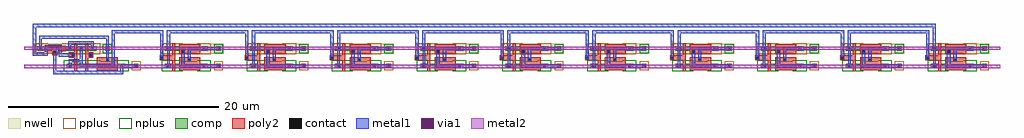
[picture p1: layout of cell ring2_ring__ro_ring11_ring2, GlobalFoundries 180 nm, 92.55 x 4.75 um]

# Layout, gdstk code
import gdstk
lib = gdstk.Library(unit=1e-6, precision=5e-10)
def R(c, l, rs):  # rectangles x0, y0, x1, y1
    for r in rs: c.add(gdstk.rectangle(r[:2], r[2:], *l))
def A(c, l, x, y, w, h, nx, ny, dx, dy):  # array of equal rectangles
    R(c, l, [(x+i*dx, y+j*dy, x+i*dx+w, y+j*dy+h) for i in range(nx) for j in range(ny)])
nwell = (21, 0)
comp = (22, 0)
poly2 = (30, 0)
pplus = (31, 0)
nplus = (32, 0)
contact = (33, 0)
metal1 = (34, 0)
via1 = (35, 0)
metal2 = (36, 0)

wire__ro_ring11_ring2_wi = lib.new_cell('wire__ro_ring11_ring2_wiring')
A(wire__ro_ring11_ring2_wi, metal1, 8.86, 1.15, 0.3, 2.45, 10, 1, 8.07, 0)
A(wire__ro_ring11_ring2_wi, metal1, 9.5, 2.07, 0.3, 1.53, 9, 1, 8.07, 0)
A(wire__ro_ring11_ring2_wi, metal1, 9.5, 3.3, 7.73, 0.3, 9, 1, 8.07, 0)
R(wire__ro_ring11_ring2_wi, metal1, [(1.23,0.15,1.53,1), (1.23,0.15,4.55,0.45), (4.25,0.15,4.55,3.6), (-0.75,1.1,0.59,1.4), (-0.75,1.1,-0.45,2.2), (-3.2,1.2,-1.8,1.5), (-3.2,1.2,-2.9,4.2), (-2.1,1.2,-1.8,2.2), (-2.1,1.9,-0.45,2.2), (82.13,2.07,82.43,4.2), (4.25,3.3,9.16,3.6), (-3.2,3.9,82.43,4.2)])
A(wire__ro_ring11_ring2_wi, via1, 12.9, 0.07, 0.26, 0.26, 10, 2, 8.07, 1.7)
R(wire__ro_ring11_ring2_wi, via1, [(5.08,0.07,5.34,0.33), (-2.62,1.77,-2.36,2.03)])
A(wire__ro_ring11_ring2_wi, metal2, 12.88, 0.05, 0.3, 0.3, 10, 2, 8.07, 1.7)
R(wire__ro_ring11_ring2_wi, metal2, [(-4.05,0.02,88.5,0.32), (5.06,0.05,5.36,0.35), (-4.05,1.75,88.5,2.05), (-2.64,1.75,-2.34,2.05)])

x10__ro_stage_ring2 = lib.new_cell('x10__ro_stage_ring2')
R(x10__ro_stage_ring2, nwell, [(-0.25,1.39,4.33,2.33), (4.23,1.39,5.57,2.33)])
R(x10__ro_stage_ring2, comp, [(0,0,0.7,0.44), (0.98,0,1.38,0.44), (3.38,0,4.08,0.44), (4.88,0,5.32,0.44), (1.38,0.1,3.38,0.34), (0.7,0.11,0.98,0.33), (0,1.64,0.7,2.08), (0.7,1.64,1.38,2.08), (3.38,1.64,4.08,2.08), (4.88,1.64,5.32,2.08), (1.38,1.74,3.38,1.98)])
R(x10__ro_stage_ring2, poly2, [(0.7,-0.3,0.98,2.38), (1.38,-0.2,3.38,1.05), (-0.5,0.75,0.98,1.25), (1.38,1.35,3.38,2.28)])
R(x10__ro_stage_ring2, pplus, [(4.68,-0.2,5.52,0.64), (-0.3,1.34,1,2.38), (0.4,1.34,1.68,2.38), (3.08,1.34,4.38,2.38), (1.08,1.44,3.68,2.28)])
R(x10__ro_stage_ring2, nplus, [(-0.3,-0.3,1,0.74), (0.68,-0.3,1.68,0.74), (3.08,-0.3,4.38,0.74), (1.08,-0.2,3.68,0.64), (0.4,-0.19,1.28,0.63), (4.68,1.44,5.52,2.28)])
R(x10__ro_stage_ring2, contact, [(0.24,0.11,0.46,0.33), (3.62,0.11,3.84,0.33), (4.99,0.11,5.21,0.33), (2.2,0.7,2.42,0.92), (-0.4,0.89,-0.18,1.11), (1.6,1.48,1.82,1.7), (0.24,1.75,0.46,1.97), (3.62,1.75,3.84,1.97), (4.99,1.75,5.21,1.97)])
R(x10__ro_stage_ring2, metal1, [(0.14,0.01,0.56,0.43), (3.52,0.01,3.94,0.43), (1.54,0.07,3.9,0.37), (3.84,0.07,5.32,0.37), (1.54,0.2,1.88,1.82), (0.23,0.4,0.47,1.68), (2.16,0.65,2.46,1.85), (-0.44,0.85,-0.14,1.15), (0.14,1.65,0.56,2.07), (3.52,1.65,3.94,2.07), (2.16,1.71,3.9,2.01), (3.84,1.71,5.32,2.01)])
x10__ro_stage_ring2.add(gdstk.Label('a', (-0.29,1), layer=34, texttype=10))
x10__ro_stage_ring2.add(gdstk.Label('y', (0.35,0.22), layer=34, texttype=10))
x10__ro_stage_ring2.add(gdstk.Label('vss', (3.63,0.22), layer=34, texttype=10))
x10__ro_stage_ring2.add(gdstk.Label('vddr', (3.63,1.86), layer=34, texttype=10))

x9__ro_stage_ring2 = lib.new_cell('x9__ro_stage_ring2')
R(x9__ro_stage_ring2, nwell, [(-0.25,1.39,4.33,2.33), (4.23,1.39,5.57,2.33)])
R(x9__ro_stage_ring2, comp, [(0,0,0.7,0.44), (0.98,0,1.38,0.44), (3.38,0,4.08,0.44), (4.88,0,5.32,0.44), (1.38,0.1,3.38,0.34), (0.7,0.11,0.98,0.33), (0,1.64,0.7,2.08), (0.7,1.64,1.38,2.08), (3.38,1.64,4.08,2.08), (4.88,1.64,5.32,2.08), (1.38,1.74,3.38,1.98)])
R(x9__ro_stage_ring2, poly2, [(0.7,-0.3,0.98,2.38), (1.38,-0.2,3.38,1.05), (-0.5,0.75,0.98,1.25), (1.38,1.35,3.38,2.28)])
R(x9__ro_stage_ring2, pplus, [(4.68,-0.2,5.52,0.64), (-0.3,1.34,1,2.38), (0.4,1.34,1.68,2.38), (3.08,1.34,4.38,2.38), (1.08,1.44,3.68,2.28)])
R(x9__ro_stage_ring2, nplus, [(-0.3,-0.3,1,0.74), (0.68,-0.3,1.68,0.74), (3.08,-0.3,4.38,0.74), (1.08,-0.2,3.68,0.64), (0.4,-0.19,1.28,0.63), (4.68,1.44,5.52,2.28)])
R(x9__ro_stage_ring2, contact, [(0.24,0.11,0.46,0.33), (3.62,0.11,3.84,0.33), (4.99,0.11,5.21,0.33), (2.2,0.7,2.42,0.92), (-0.4,0.89,-0.18,1.11), (1.6,1.48,1.82,1.7), (0.24,1.75,0.46,1.97), (3.62,1.75,3.84,1.97), (4.99,1.75,5.21,1.97)])
R(x9__ro_stage_ring2, metal1, [(0.14,0.01,0.56,0.43), (3.52,0.01,3.94,0.43), (1.54,0.07,3.9,0.37), (3.84,0.07,5.32,0.37), (1.54,0.2,1.88,1.82), (0.23,0.4,0.47,1.68), (2.16,0.65,2.46,1.85), (-0.44,0.85,-0.14,1.15), (0.14,1.65,0.56,2.07), (3.52,1.65,3.94,2.07), (2.16,1.71,3.9,2.01), (3.84,1.71,5.32,2.01)])
x9__ro_stage_ring2.add(gdstk.Label('a', (-0.29,1), layer=34, texttype=10))
x9__ro_stage_ring2.add(gdstk.Label('y', (0.35,0.22), layer=34, texttype=10))
x9__ro_stage_ring2.add(gdstk.Label('vss', (3.63,0.22), layer=34, texttype=10))
x9__ro_stage_ring2.add(gdstk.Label('vddr', (3.63,1.86), layer=34, texttype=10))

x8__ro_stage_ring2 = lib.new_cell('x8__ro_stage_ring2')
R(x8__ro_stage_ring2, nwell, [(-0.25,1.39,4.33,2.33), (4.23,1.39,5.57,2.33)])
R(x8__ro_stage_ring2, comp, [(0,0,0.7,0.44), (0.98,0,1.38,0.44), (3.38,0,4.08,0.44), (4.88,0,5.32,0.44), (1.38,0.1,3.38,0.34), (0.7,0.11,0.98,0.33), (0,1.64,0.7,2.08), (0.7,1.64,1.38,2.08), (3.38,1.64,4.08,2.08), (4.88,1.64,5.32,2.08), (1.38,1.74,3.38,1.98)])
R(x8__ro_stage_ring2, poly2, [(0.7,-0.3,0.98,2.38), (1.38,-0.2,3.38,1.05), (-0.5,0.75,0.98,1.25), (1.38,1.35,3.38,2.28)])
R(x8__ro_stage_ring2, pplus, [(4.68,-0.2,5.52,0.64), (-0.3,1.34,1,2.38), (0.4,1.34,1.68,2.38), (3.08,1.34,4.38,2.38), (1.08,1.44,3.68,2.28)])
R(x8__ro_stage_ring2, nplus, [(-0.3,-0.3,1,0.74), (0.68,-0.3,1.68,0.74), (3.08,-0.3,4.38,0.74), (1.08,-0.2,3.68,0.64), (0.4,-0.19,1.28,0.63), (4.68,1.44,5.52,2.28)])
R(x8__ro_stage_ring2, contact, [(0.24,0.11,0.46,0.33), (3.62,0.11,3.84,0.33), (4.99,0.11,5.21,0.33), (2.2,0.7,2.42,0.92), (-0.4,0.89,-0.18,1.11), (1.6,1.48,1.82,1.7), (0.24,1.75,0.46,1.97), (3.62,1.75,3.84,1.97), (4.99,1.75,5.21,1.97)])
R(x8__ro_stage_ring2, metal1, [(0.14,0.01,0.56,0.43), (3.52,0.01,3.94,0.43), (1.54,0.07,3.9,0.37), (3.84,0.07,5.32,0.37), (1.54,0.2,1.88,1.82), (0.23,0.4,0.47,1.68), (2.16,0.65,2.46,1.85), (-0.44,0.85,-0.14,1.15), (0.14,1.65,0.56,2.07), (3.52,1.65,3.94,2.07), (2.16,1.71,3.9,2.01), (3.84,1.71,5.32,2.01)])
x8__ro_stage_ring2.add(gdstk.Label('a', (-0.29,1), layer=34, texttype=10))
x8__ro_stage_ring2.add(gdstk.Label('y', (0.35,0.22), layer=34, texttype=10))
x8__ro_stage_ring2.add(gdstk.Label('vss', (3.63,0.22), layer=34, texttype=10))
x8__ro_stage_ring2.add(gdstk.Label('vddr', (3.63,1.86), layer=34, texttype=10))

x7__ro_stage_ring2 = lib.new_cell('x7__ro_stage_ring2')
R(x7__ro_stage_ring2, nwell, [(-0.25,1.39,4.33,2.33), (4.23,1.39,5.57,2.33)])
R(x7__ro_stage_ring2, comp, [(0,0,0.7,0.44), (0.98,0,1.38,0.44), (3.38,0,4.08,0.44), (4.88,0,5.32,0.44), (1.38,0.1,3.38,0.34), (0.7,0.11,0.98,0.33), (0,1.64,0.7,2.08), (0.7,1.64,1.38,2.08), (3.38,1.64,4.08,2.08), (4.88,1.64,5.32,2.08), (1.38,1.74,3.38,1.98)])
R(x7__ro_stage_ring2, poly2, [(0.7,-0.3,0.98,2.38), (1.38,-0.2,3.38,1.05), (-0.5,0.75,0.98,1.25), (1.38,1.35,3.38,2.28)])
R(x7__ro_stage_ring2, pplus, [(4.68,-0.2,5.52,0.64), (-0.3,1.34,1,2.38), (0.4,1.34,1.68,2.38), (3.08,1.34,4.38,2.38), (1.08,1.44,3.68,2.28)])
R(x7__ro_stage_ring2, nplus, [(-0.3,-0.3,1,0.74), (0.68,-0.3,1.68,0.74), (3.08,-0.3,4.38,0.74), (1.08,-0.2,3.68,0.64), (0.4,-0.19,1.28,0.63), (4.68,1.44,5.52,2.28)])
R(x7__ro_stage_ring2, contact, [(0.24,0.11,0.46,0.33), (3.62,0.11,3.84,0.33), (4.99,0.11,5.21,0.33), (2.2,0.7,2.42,0.92), (-0.4,0.89,-0.18,1.11), (1.6,1.48,1.82,1.7), (0.24,1.75,0.46,1.97), (3.62,1.75,3.84,1.97), (4.99,1.75,5.21,1.97)])
R(x7__ro_stage_ring2, metal1, [(0.14,0.01,0.56,0.43), (3.52,0.01,3.94,0.43), (1.54,0.07,3.9,0.37), (3.84,0.07,5.32,0.37), (1.54,0.2,1.88,1.82), (0.23,0.4,0.47,1.68), (2.16,0.65,2.46,1.85), (-0.44,0.85,-0.14,1.15), (0.14,1.65,0.56,2.07), (3.52,1.65,3.94,2.07), (2.16,1.71,3.9,2.01), (3.84,1.71,5.32,2.01)])
x7__ro_stage_ring2.add(gdstk.Label('a', (-0.29,1), layer=34, texttype=10))
x7__ro_stage_ring2.add(gdstk.Label('y', (0.35,0.22), layer=34, texttype=10))
x7__ro_stage_ring2.add(gdstk.Label('vss', (3.63,0.22), layer=34, texttype=10))
x7__ro_stage_ring2.add(gdstk.Label('vddr', (3.63,1.86), layer=34, texttype=10))

x6__ro_stage_ring2 = lib.new_cell('x6__ro_stage_ring2')
R(x6__ro_stage_ring2, nwell, [(-0.25,1.39,4.33,2.33), (4.23,1.39,5.57,2.33)])
R(x6__ro_stage_ring2, comp, [(0,0,0.7,0.44), (0.98,0,1.38,0.44), (3.38,0,4.08,0.44), (4.88,0,5.32,0.44), (1.38,0.1,3.38,0.34), (0.7,0.11,0.98,0.33), (0,1.64,0.7,2.08), (0.7,1.64,1.38,2.08), (3.38,1.64,4.08,2.08), (4.88,1.64,5.32,2.08), (1.38,1.74,3.38,1.98)])
R(x6__ro_stage_ring2, poly2, [(0.7,-0.3,0.98,2.38), (1.38,-0.2,3.38,1.05), (-0.5,0.75,0.98,1.25), (1.38,1.35,3.38,2.28)])
R(x6__ro_stage_ring2, pplus, [(4.68,-0.2,5.52,0.64), (-0.3,1.34,1,2.38), (0.4,1.34,1.68,2.38), (3.08,1.34,4.38,2.38), (1.08,1.44,3.68,2.28)])
R(x6__ro_stage_ring2, nplus, [(-0.3,-0.3,1,0.74), (0.68,-0.3,1.68,0.74), (3.08,-0.3,4.38,0.74), (1.08,-0.2,3.68,0.64), (0.4,-0.19,1.28,0.63), (4.68,1.44,5.52,2.28)])
R(x6__ro_stage_ring2, contact, [(0.24,0.11,0.46,0.33), (3.62,0.11,3.84,0.33), (4.99,0.11,5.21,0.33), (2.2,0.7,2.42,0.92), (-0.4,0.89,-0.18,1.11), (1.6,1.48,1.82,1.7), (0.24,1.75,0.46,1.97), (3.62,1.75,3.84,1.97), (4.99,1.75,5.21,1.97)])
R(x6__ro_stage_ring2, metal1, [(0.14,0.01,0.56,0.43), (3.52,0.01,3.94,0.43), (1.54,0.07,3.9,0.37), (3.84,0.07,5.32,0.37), (1.54,0.2,1.88,1.82), (0.23,0.4,0.47,1.68), (2.16,0.65,2.46,1.85), (-0.44,0.85,-0.14,1.15), (0.14,1.65,0.56,2.07), (3.52,1.65,3.94,2.07), (2.16,1.71,3.9,2.01), (3.84,1.71,5.32,2.01)])
x6__ro_stage_ring2.add(gdstk.Label('a', (-0.29,1), layer=34, texttype=10))
x6__ro_stage_ring2.add(gdstk.Label('y', (0.35,0.22), layer=34, texttype=10))
x6__ro_stage_ring2.add(gdstk.Label('vss', (3.63,0.22), layer=34, texttype=10))
x6__ro_stage_ring2.add(gdstk.Label('vddr', (3.63,1.86), layer=34, texttype=10))

x5__ro_stage_ring2 = lib.new_cell('x5__ro_stage_ring2')
R(x5__ro_stage_ring2, nwell, [(-0.25,1.39,4.33,2.33), (4.23,1.39,5.57,2.33)])
R(x5__ro_stage_ring2, comp, [(0,0,0.7,0.44), (0.98,0,1.38,0.44), (3.38,0,4.08,0.44), (4.88,0,5.32,0.44), (1.38,0.1,3.38,0.34), (0.7,0.11,0.98,0.33), (0,1.64,0.7,2.08), (0.7,1.64,1.38,2.08), (3.38,1.64,4.08,2.08), (4.88,1.64,5.32,2.08), (1.38,1.74,3.38,1.98)])
R(x5__ro_stage_ring2, poly2, [(0.7,-0.3,0.98,2.38), (1.38,-0.2,3.38,1.05), (-0.5,0.75,0.98,1.25), (1.38,1.35,3.38,2.28)])
R(x5__ro_stage_ring2, pplus, [(4.68,-0.2,5.52,0.64), (-0.3,1.34,1,2.38), (0.4,1.34,1.68,2.38), (3.08,1.34,4.38,2.38), (1.08,1.44,3.68,2.28)])
R(x5__ro_stage_ring2, nplus, [(-0.3,-0.3,1,0.74), (0.68,-0.3,1.68,0.74), (3.08,-0.3,4.38,0.74), (1.08,-0.2,3.68,0.64), (0.4,-0.19,1.28,0.63), (4.68,1.44,5.52,2.28)])
R(x5__ro_stage_ring2, contact, [(0.24,0.11,0.46,0.33), (3.62,0.11,3.84,0.33), (4.99,0.11,5.21,0.33), (2.2,0.7,2.42,0.92), (-0.4,0.89,-0.18,1.11), (1.6,1.48,1.82,1.7), (0.24,1.75,0.46,1.97), (3.62,1.75,3.84,1.97), (4.99,1.75,5.21,1.97)])
R(x5__ro_stage_ring2, metal1, [(0.14,0.01,0.56,0.43), (3.52,0.01,3.94,0.43), (1.54,0.07,3.9,0.37), (3.84,0.07,5.32,0.37), (1.54,0.2,1.88,1.82), (0.23,0.4,0.47,1.68), (2.16,0.65,2.46,1.85), (-0.44,0.85,-0.14,1.15), (0.14,1.65,0.56,2.07), (3.52,1.65,3.94,2.07), (2.16,1.71,3.9,2.01), (3.84,1.71,5.32,2.01)])
x5__ro_stage_ring2.add(gdstk.Label('a', (-0.29,1), layer=34, texttype=10))
x5__ro_stage_ring2.add(gdstk.Label('y', (0.35,0.22), layer=34, texttype=10))
x5__ro_stage_ring2.add(gdstk.Label('vss', (3.63,0.22), layer=34, texttype=10))
x5__ro_stage_ring2.add(gdstk.Label('vddr', (3.63,1.86), layer=34, texttype=10))

x4__ro_stage_ring2 = lib.new_cell('x4__ro_stage_ring2')
R(x4__ro_stage_ring2, nwell, [(-0.25,1.39,4.33,2.33), (4.23,1.39,5.57,2.33)])
R(x4__ro_stage_ring2, comp, [(0,0,0.7,0.44), (0.98,0,1.38,0.44), (3.38,0,4.08,0.44), (4.88,0,5.32,0.44), (1.38,0.1,3.38,0.34), (0.7,0.11,0.98,0.33), (0,1.64,0.7,2.08), (0.7,1.64,1.38,2.08), (3.38,1.64,4.08,2.08), (4.88,1.64,5.32,2.08), (1.38,1.74,3.38,1.98)])
R(x4__ro_stage_ring2, poly2, [(0.7,-0.3,0.98,2.38), (1.38,-0.2,3.38,1.05), (-0.5,0.75,0.98,1.25), (1.38,1.35,3.38,2.28)])
R(x4__ro_stage_ring2, pplus, [(4.68,-0.2,5.52,0.64), (-0.3,1.34,1,2.38), (0.4,1.34,1.68,2.38), (3.08,1.34,4.38,2.38), (1.08,1.44,3.68,2.28)])
R(x4__ro_stage_ring2, nplus, [(-0.3,-0.3,1,0.74), (0.68,-0.3,1.68,0.74), (3.08,-0.3,4.38,0.74), (1.08,-0.2,3.68,0.64), (0.4,-0.19,1.28,0.63), (4.68,1.44,5.52,2.28)])
R(x4__ro_stage_ring2, contact, [(0.24,0.11,0.46,0.33), (3.62,0.11,3.84,0.33), (4.99,0.11,5.21,0.33), (2.2,0.7,2.42,0.92), (-0.4,0.89,-0.18,1.11), (1.6,1.48,1.82,1.7), (0.24,1.75,0.46,1.97), (3.62,1.75,3.84,1.97), (4.99,1.75,5.21,1.97)])
R(x4__ro_stage_ring2, metal1, [(0.14,0.01,0.56,0.43), (3.52,0.01,3.94,0.43), (1.54,0.07,3.9,0.37), (3.84,0.07,5.32,0.37), (1.54,0.2,1.88,1.82), (0.23,0.4,0.47,1.68), (2.16,0.65,2.46,1.85), (-0.44,0.85,-0.14,1.15), (0.14,1.65,0.56,2.07), (3.52,1.65,3.94,2.07), (2.16,1.71,3.9,2.01), (3.84,1.71,5.32,2.01)])
x4__ro_stage_ring2.add(gdstk.Label('a', (-0.29,1), layer=34, texttype=10))
x4__ro_stage_ring2.add(gdstk.Label('y', (0.35,0.22), layer=34, texttype=10))
x4__ro_stage_ring2.add(gdstk.Label('vss', (3.63,0.22), layer=34, texttype=10))
x4__ro_stage_ring2.add(gdstk.Label('vddr', (3.63,1.86), layer=34, texttype=10))

x3__ro_stage_ring2 = lib.new_cell('x3__ro_stage_ring2')
R(x3__ro_stage_ring2, nwell, [(-0.25,1.39,4.33,2.33), (4.23,1.39,5.57,2.33)])
R(x3__ro_stage_ring2, comp, [(0,0,0.7,0.44), (0.98,0,1.38,0.44), (3.38,0,4.08,0.44), (4.88,0,5.32,0.44), (1.38,0.1,3.38,0.34), (0.7,0.11,0.98,0.33), (0,1.64,0.7,2.08), (0.7,1.64,1.38,2.08), (3.38,1.64,4.08,2.08), (4.88,1.64,5.32,2.08), (1.38,1.74,3.38,1.98)])
R(x3__ro_stage_ring2, poly2, [(0.7,-0.3,0.98,2.38), (1.38,-0.2,3.38,1.05), (-0.5,0.75,0.98,1.25), (1.38,1.35,3.38,2.28)])
R(x3__ro_stage_ring2, pplus, [(4.68,-0.2,5.52,0.64), (-0.3,1.34,1,2.38), (0.4,1.34,1.68,2.38), (3.08,1.34,4.38,2.38), (1.08,1.44,3.68,2.28)])
R(x3__ro_stage_ring2, nplus, [(-0.3,-0.3,1,0.74), (0.68,-0.3,1.68,0.74), (3.08,-0.3,4.38,0.74), (1.08,-0.2,3.68,0.64), (0.4,-0.19,1.28,0.63), (4.68,1.44,5.52,2.28)])
R(x3__ro_stage_ring2, contact, [(0.24,0.11,0.46,0.33), (3.62,0.11,3.84,0.33), (4.99,0.11,5.21,0.33), (2.2,0.7,2.42,0.92), (-0.4,0.89,-0.18,1.11), (1.6,1.48,1.82,1.7), (0.24,1.75,0.46,1.97), (3.62,1.75,3.84,1.97), (4.99,1.75,5.21,1.97)])
R(x3__ro_stage_ring2, metal1, [(0.14,0.01,0.56,0.43), (3.52,0.01,3.94,0.43), (1.54,0.07,3.9,0.37), (3.84,0.07,5.32,0.37), (1.54,0.2,1.88,1.82), (0.23,0.4,0.47,1.68), (2.16,0.65,2.46,1.85), (-0.44,0.85,-0.14,1.15), (0.14,1.65,0.56,2.07), (3.52,1.65,3.94,2.07), (2.16,1.71,3.9,2.01), (3.84,1.71,5.32,2.01)])
x3__ro_stage_ring2.add(gdstk.Label('a', (-0.29,1), layer=34, texttype=10))
x3__ro_stage_ring2.add(gdstk.Label('y', (0.35,0.22), layer=34, texttype=10))
x3__ro_stage_ring2.add(gdstk.Label('vss', (3.63,0.22), layer=34, texttype=10))
x3__ro_stage_ring2.add(gdstk.Label('vddr', (3.63,1.86), layer=34, texttype=10))

x2__ro_stage_ring2 = lib.new_cell('x2__ro_stage_ring2')
R(x2__ro_stage_ring2, nwell, [(-0.25,1.39,4.33,2.33), (4.23,1.39,5.57,2.33)])
R(x2__ro_stage_ring2, comp, [(0,0,0.7,0.44), (0.98,0,1.38,0.44), (3.38,0,4.08,0.44), (4.88,0,5.32,0.44), (1.38,0.1,3.38,0.34), (0.7,0.11,0.98,0.33), (0,1.64,0.7,2.08), (0.7,1.64,1.38,2.08), (3.38,1.64,4.08,2.08), (4.88,1.64,5.32,2.08), (1.38,1.74,3.38,1.98)])
R(x2__ro_stage_ring2, poly2, [(0.7,-0.3,0.98,2.38), (1.38,-0.2,3.38,1.05), (-0.5,0.75,0.98,1.25), (1.38,1.35,3.38,2.28)])
R(x2__ro_stage_ring2, pplus, [(4.68,-0.2,5.52,0.64), (-0.3,1.34,1,2.38), (0.4,1.34,1.68,2.38), (3.08,1.34,4.38,2.38), (1.08,1.44,3.68,2.28)])
R(x2__ro_stage_ring2, nplus, [(-0.3,-0.3,1,0.74), (0.68,-0.3,1.68,0.74), (3.08,-0.3,4.38,0.74), (1.08,-0.2,3.68,0.64), (0.4,-0.19,1.28,0.63), (4.68,1.44,5.52,2.28)])
R(x2__ro_stage_ring2, contact, [(0.24,0.11,0.46,0.33), (3.62,0.11,3.84,0.33), (4.99,0.11,5.21,0.33), (2.2,0.7,2.42,0.92), (-0.4,0.89,-0.18,1.11), (1.6,1.48,1.82,1.7), (0.24,1.75,0.46,1.97), (3.62,1.75,3.84,1.97), (4.99,1.75,5.21,1.97)])
R(x2__ro_stage_ring2, metal1, [(0.14,0.01,0.56,0.43), (3.52,0.01,3.94,0.43), (1.54,0.07,3.9,0.37), (3.84,0.07,5.32,0.37), (1.54,0.2,1.88,1.82), (0.23,0.4,0.47,1.68), (2.16,0.65,2.46,1.85), (-0.44,0.85,-0.14,1.15), (0.14,1.65,0.56,2.07), (3.52,1.65,3.94,2.07), (2.16,1.71,3.9,2.01), (3.84,1.71,5.32,2.01)])
x2__ro_stage_ring2.add(gdstk.Label('a', (-0.29,1), layer=34, texttype=10))
x2__ro_stage_ring2.add(gdstk.Label('y', (0.35,0.22), layer=34, texttype=10))
x2__ro_stage_ring2.add(gdstk.Label('vss', (3.63,0.22), layer=34, texttype=10))
x2__ro_stage_ring2.add(gdstk.Label('vddr', (3.63,1.86), layer=34, texttype=10))

x1__ro_stage_ring2 = lib.new_cell('x1__ro_stage_ring2')
R(x1__ro_stage_ring2, nwell, [(-0.25,1.39,4.33,2.33), (4.23,1.39,5.57,2.33)])
R(x1__ro_stage_ring2, comp, [(0,0,0.7,0.44), (0.98,0,1.38,0.44), (3.38,0,4.08,0.44), (4.88,0,5.32,0.44), (1.38,0.1,3.38,0.34), (0.7,0.11,0.98,0.33), (0,1.64,0.7,2.08), (0.7,1.64,1.38,2.08), (3.38,1.64,4.08,2.08), (4.88,1.64,5.32,2.08), (1.38,1.74,3.38,1.98)])
R(x1__ro_stage_ring2, poly2, [(0.7,-0.3,0.98,2.38), (1.38,-0.2,3.38,1.05), (-0.5,0.75,0.98,1.25), (1.38,1.35,3.38,2.28)])
R(x1__ro_stage_ring2, pplus, [(4.68,-0.2,5.52,0.64), (-0.3,1.34,1,2.38), (0.4,1.34,1.68,2.38), (3.08,1.34,4.38,2.38), (1.08,1.44,3.68,2.28)])
R(x1__ro_stage_ring2, nplus, [(-0.3,-0.3,1,0.74), (0.68,-0.3,1.68,0.74), (3.08,-0.3,4.38,0.74), (1.08,-0.2,3.68,0.64), (0.4,-0.19,1.28,0.63), (4.68,1.44,5.52,2.28)])
R(x1__ro_stage_ring2, contact, [(0.24,0.11,0.46,0.33), (3.62,0.11,3.84,0.33), (4.99,0.11,5.21,0.33), (2.2,0.7,2.42,0.92), (-0.4,0.89,-0.18,1.11), (1.6,1.48,1.82,1.7), (0.24,1.75,0.46,1.97), (3.62,1.75,3.84,1.97), (4.99,1.75,5.21,1.97)])
R(x1__ro_stage_ring2, metal1, [(0.14,0.01,0.56,0.43), (3.52,0.01,3.94,0.43), (1.54,0.07,3.9,0.37), (3.84,0.07,5.32,0.37), (1.54,0.2,1.88,1.82), (0.23,0.4,0.47,1.68), (2.16,0.65,2.46,1.85), (-0.44,0.85,-0.14,1.15), (0.14,1.65,0.56,2.07), (3.52,1.65,3.94,2.07), (2.16,1.71,3.9,2.01), (3.84,1.71,5.32,2.01)])
x1__ro_stage_ring2.add(gdstk.Label('a', (-0.29,1), layer=34, texttype=10))
x1__ro_stage_ring2.add(gdstk.Label('y', (0.35,0.22), layer=34, texttype=10))
x1__ro_stage_ring2.add(gdstk.Label('vss', (3.63,0.22), layer=34, texttype=10))
x1__ro_stage_ring2.add(gdstk.Label('vddr', (3.63,1.86), layer=34, texttype=10))

xg__ro_nand2_ring2 = lib.new_cell('xg__ro_nand2_ring2')
R(xg__ro_nand2_ring2, nwell, [(-3.05,1.39,3.11,2.33), (3.01,1.39,4.33,2.33)])
R(xg__ro_nand2_ring2, comp, [(0,0,2.86,0.44), (4.86,0,5.56,0.44), (6.36,0,6.8,0.44), (2.86,0.1,4.86,0.34), (-2.8,1.64,-2.1,2.08), (-0.1,1.64,2.86,2.08), (3.64,1.64,4.08,2.08), (-2.1,1.74,-0.1,1.98)])
R(xg__ro_nand2_ring2, poly2, [(0.7,-0.3,0.98,2.38), (1.78,-0.3,2.06,2.38), (2.86,-0.2,4.86,1.05), (0.2,1,0.98,1.5), (1.78,1,2.5,1.5), (-1.35,1.25,-0.85,1.7), (-2.1,1.59,-0.1,2.13)])
R(xg__ro_nand2_ring2, pplus, [(6.16,-0.2,7,0.64), (-3.1,1.34,-1.8,2.38), (-0.4,1.34,3.16,2.38), (-2.4,1.44,0.2,2.28)])
R(xg__ro_nand2_ring2, nplus, [(-0.3,-0.3,3.16,0.74), (4.56,-0.3,5.86,0.74), (2.56,-0.2,5.16,0.64), (3.44,1.44,4.28,2.28)])
R(xg__ro_nand2_ring2, contact, [(0.24,0.11,0.46,0.33), (5.1,0.11,5.32,0.33), (6.47,0.11,6.69,0.33), (3.75,0.7,3.97,0.92), (0.48,1.14,0.7,1.36), (2.15,1.14,2.37,1.36), (-1.24,1.4,-1.02,1.62), (-2.6,1.75,-2.38,1.97), (0.18,1.75,0.4,1.97), (1.27,1.75,1.49,1.97), (2.34,1.75,2.56,1.97), (3.75,1.75,3.97,1.97)])
R(xg__ro_nand2_ring2, metal1, [(-1.26,-0.55,-1,1.64), (-1.26,-0.55,5.34,-0.25), (5.08,-0.55,5.34,0.35), (5.24,0.07,6.8,0.37), (0.2,0.09,0.5,0.85), (0.2,0.55,1.53,0.85), (1.23,0.55,1.53,1.99), (3.73,0.68,3.99,3.1), (0.44,1.1,0.74,1.4), (2.11,1.1,2.41,1.4), (-2.62,1.73,-2.36,3.1), (0.16,1.73,0.42,2.55), (2.32,1.73,2.58,2.55), (0.16,2.25,2.58,2.55), (-2.62,2.8,3.99,3.1)])
xg__ro_nand2_ring2.add(gdstk.Label('a', (0.59,1.25), layer=34, texttype=10))
xg__ro_nand2_ring2.add(gdstk.Label('en', (2.26,1.25), layer=34, texttype=10))
xg__ro_nand2_ring2.add(gdstk.Label('y', (0.35,0.22), layer=34, texttype=10))
xg__ro_nand2_ring2.add(gdstk.Label('vddr', (-2.45,1.86), layer=34, texttype=10))
xg__ro_nand2_ring2.add(gdstk.Label('vss', (5.21,0.22), layer=34, texttype=10))

ring2_ring__ro_ring11_ri = lib.new_cell('ring2_ring__ro_ring11_ring2')
ring2_ring__ro_ring11_ri.add(gdstk.Reference(wire__ro_ring11_ring2_wi, (0,0)))
ring2_ring__ro_ring11_ri.add(gdstk.Reference(x10__ro_stage_ring2, (81.93,0)))
ring2_ring__ro_ring11_ri.add(gdstk.Reference(x9__ro_stage_ring2, (73.86,0)))
ring2_ring__ro_ring11_ri.add(gdstk.Reference(x8__ro_stage_ring2, (65.79,0)))
ring2_ring__ro_ring11_ri.add(gdstk.Reference(x7__ro_stage_ring2, (57.72,0)))
ring2_ring__ro_ring11_ri.add(gdstk.Reference(x6__ro_stage_ring2, (49.65,0)))
ring2_ring__ro_ring11_ri.add(gdstk.Reference(x5__ro_stage_ring2, (41.58,0)))
ring2_ring__ro_ring11_ri.add(gdstk.Reference(x4__ro_stage_ring2, (33.51,0)))
ring2_ring__ro_ring11_ri.add(gdstk.Reference(x3__ro_stage_ring2, (25.44,0)))
ring2_ring__ro_ring11_ri.add(gdstk.Reference(x2__ro_stage_ring2, (17.37,0)))
ring2_ring__ro_ring11_ri.add(gdstk.Reference(x1__ro_stage_ring2, (9.3,0)))
ring2_ring__ro_ring11_ri.add(gdstk.Reference(xg__ro_nand2_ring2, (0,0)))

lib.write_gds('ring2_ring__ro_ring11_ring2.gds')
